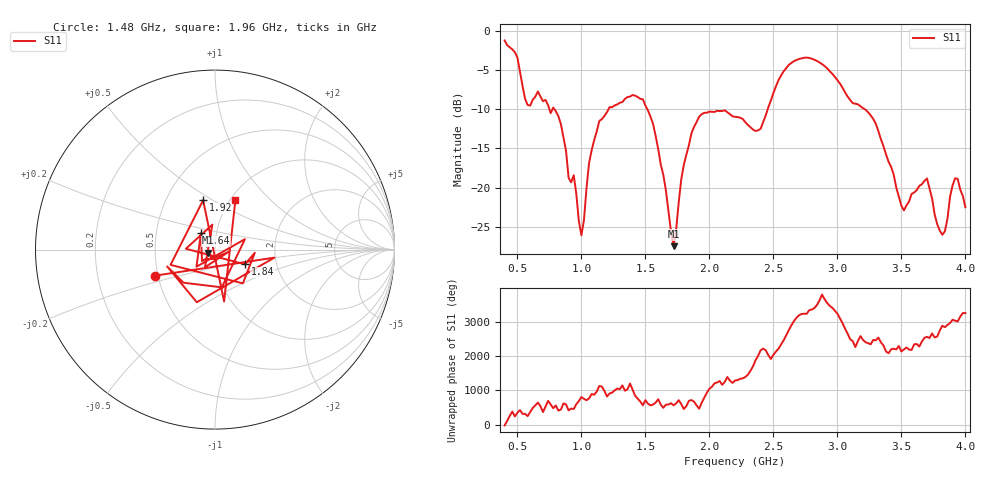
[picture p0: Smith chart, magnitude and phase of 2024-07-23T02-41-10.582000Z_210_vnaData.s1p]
!Created with skrf (http://scikit-rf.org).
# Hz S RI R 50.0
!freq ReS11 ImS11
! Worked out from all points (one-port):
!   181 points, 400 MHz to 4 GHz, reference 50 ohm
!   lowest |S11| = -27.4 dB at 1.72 GHz (marker M1), VSWR 1.09, Z = 46.2 - j1.56 ohm
!   |S11| at or under -10 dB: 788.8 MHz to 1.212 GHz (423 MHz wide, 42.3 % of centre); 1.515 GHz to 2.456 GHz (940.8 MHz wide, 47.4 % of centre); 3.213 GHz to end of sweep (the widest 3 of 4)
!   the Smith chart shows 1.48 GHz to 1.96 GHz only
!   S11 on the Smith chart (normalised r, x): 1.48 GHz: 0.48, -0.16; 1.64 GHz: 0.84, +0.16; 1.84 GHz: 1.38, -0.23; 1.92 GHz: 0.76, +0.45; 1.96 GHz: 1.06, +0.64
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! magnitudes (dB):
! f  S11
! 400 MHz  -1.3
! 500 MHz  -3.4
! 580 MHz  -9.5
! 660 MHz  -7.8
! 860 MHz  -13.6
! 940 MHz  -18.4
! 1 GHz  -26.0
! 1.06 GHz  -16.8
! 1.14 GHz  -11.5
! 1.3 GHz  -9.2
! 1.48 GHz  -8.7
! 1.64 GHz  -18.4
! 1.72 GHz  -27.4
! 1.76 GHz  -21.9
! 1.84 GHz  -14.6
! 1.92 GHz  -11.0
! 1.96 GHz  -10.5
! 2.2 GHz  -11.0
! 2.4 GHz  -12.5
! 2.66 GHz  -3.9
! 3.1 GHz  -8.8
! 3.28 GHz  -11.2
! 3.5 GHz  -22.3
! 3.56 GHz  -21.7
! 3.7 GHz  -18.8
! 3.82 GHz  -26.0
! 3.92 GHz  -18.8
! 4 GHz  -22.5
